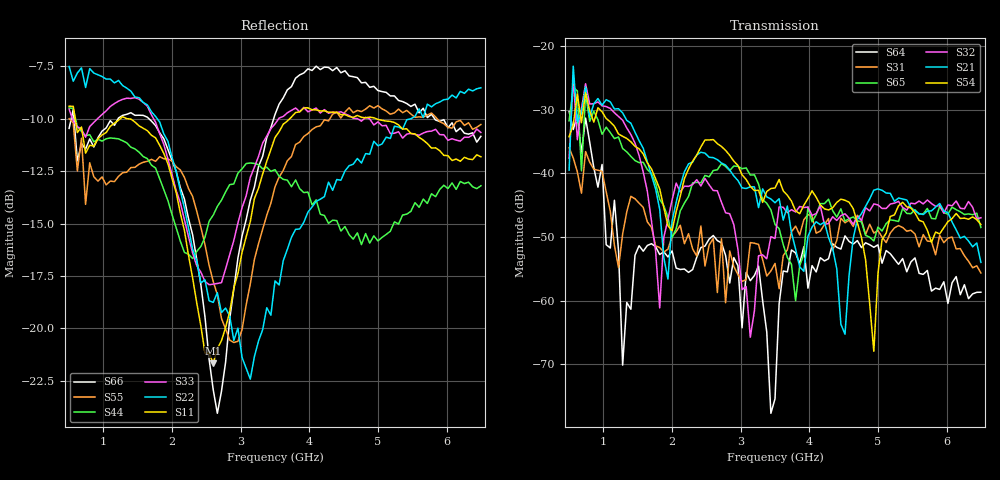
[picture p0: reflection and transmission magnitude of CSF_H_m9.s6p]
!Keysight Technologies,M9804A,MY58100912,A.14.10.03
!Date: Thursday, April 27, 2023 10:28:33
!Correction: S11(C  6-Port  )
!S12(C  6-Port  )
!S13(C  6-Port  )
!S14(C  6-Port  )
!S15(C  6-Port  )
!S16(C  6-Port  )
!S21(C  6-Port  )
!S22(C  6-Port  )
!S23(C  6-Port  )
!S24(C  6-Port  )
!S25(C  6-Port  )
!S26(C  6-Port  )
!S31(C  6-Port  )
!S32(C  6-Port  )
!S33(C  6-Port  )
!S34(C  6-Port  )
!S35(C  6-Port  )
!S36(C  6-Port  )
!S41(C  6-Port  )
!S42(C  6-Port  )
!S43(C  6-Port  )
!S44(C  6-Port  )
!S45(C  6-Port  )
!S46(C  6-Port  )
!S51(C  6-Port  )
!S52(C  6-Port  )
!S53(C  6-Port  )
!S54(C  6-Port  )
!S55(C  6-Port  )
!S56(C  6-Port  )
!S61(C  6-Port  )
!S62(C  6-Port  )
!S63(C  6-Port  )
!S64(C  6-Port  )
!S65(C  6-Port  )
!S66(C  6-Port  )
!S6P File: Measurement: :
# Hz S  RI  R 50
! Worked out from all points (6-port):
!   101 points, 500 MHz to 6.5 GHz, reference 50 ohm
!   strongest paths, dB at 500 MHz, 2 GHz, 3.5 GHz, 5 GHz, 6.5 GHz:
!     S54: -34.3, -49.0, -42.3, -55.8, -48.0
!     S21: -39.5, -47.5, -44.6, -42.5, -54.0
!     S32: -37.6, -44.2, -50.2, -45.0, -47.0
!     S65: -31.8, -50.1, -48.0, -48.4, -48.5
!     S31: -36.0, -49.9, -54.2, -49.0, -55.7
!     S64: -30.3, -52.2, -75.4, -51.2, -58.7
!   lowest |S11| = -21.7 dB at 2.6 GHz (marker M1), VSWR 1.18, Z = 42.6 + j1.97 ohm
!   |S11| at or under -10 dB: 588.3 MHz to 1.245 GHz (657.1 MHz wide, 71.7 % of centre); 1.349 GHz to 3.715 GHz (2.366 GHz wide, 93.4 % of centre); 4.974 GHz to end of sweep
